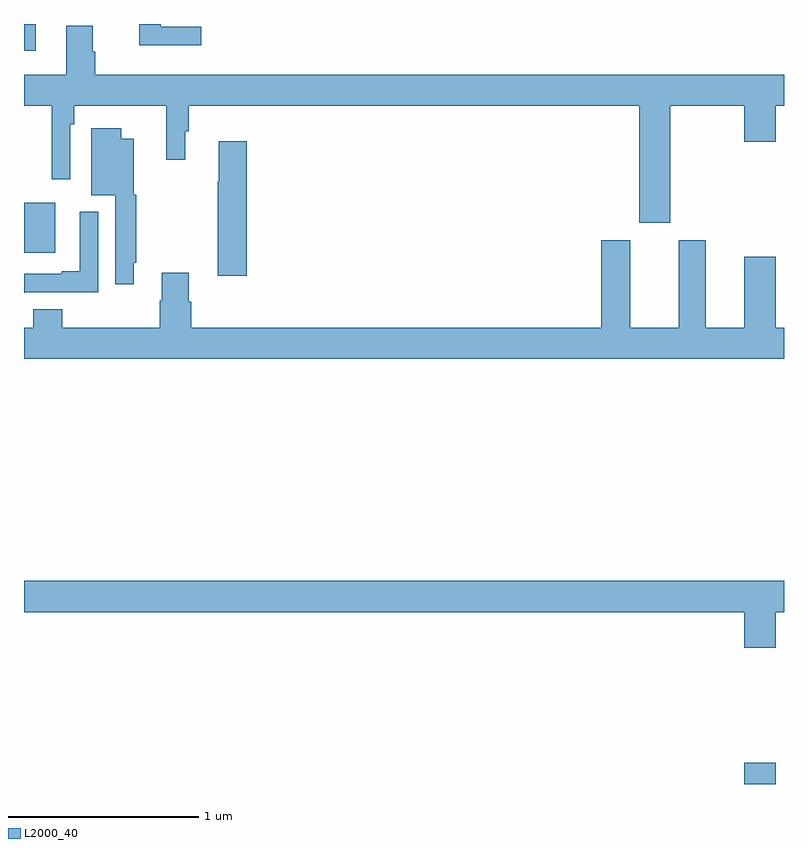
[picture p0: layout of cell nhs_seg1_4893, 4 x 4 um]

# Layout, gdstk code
import gdstk
lib = gdstk.Library(unit=1e-6, precision=1e-09)
def R(c, l, rs):  # rectangles x0, y0, x1, y1
    for r in rs: c.add(gdstk.rectangle(r[:2], r[2:], *l))
def P(c, l, *ps):  # polygons
    for p in ps: c.add(gdstk.Polygon(p, *l))
L2000_40 = (2000, 40)

nhs_seg1_4893 = lib.new_cell('nhs_seg1_4893')
R(nhs_seg1_4893, L2000_40, [(380.792,512.199,380.956,512.311), (377,514.994,377.164,515.257), (377,516.057,377.062,516.199)])
P(nhs_seg1_4893, L2000_40, [(377.932,516.184),(377.719,516.184),(377.719,516.199),(377.607,516.199),(377.607,516.086),(377.932,516.086)],
  [(380.401,515.768),(380.792,515.768),(380.792,515.58),(380.956,515.58),(380.956,515.768),(381,515.768),(381,515.932),(377.375,515.932),(377.375,516.053),(377.362,516.053),(377.362,516.19),(377.222,516.19),(377.222,515.932),(377,515.932),(377,515.768),(377.147,515.768),(377.147,515.382),(377.244,515.382),(377.244,515.672),(377.264,515.672),(377.264,515.768),(377.749,515.768),(377.749,515.484),(377.848,515.484),(377.848,515.634),(377.867,515.634),(377.867,515.768),(380.237,515.768),(380.237,515.154),(380.401,515.154)],
  [(377.578,514.942),(377.59,514.942),(377.59,515.301),(377.578,515.301),(377.578,515.596),(377.512,515.596),(377.512,515.65),(377.354,515.65),(377.354,515.297),(377.481,515.297),(377.481,514.83),(377.578,514.83)],
  [(378.173,515.581),(378.026,515.581),(378.026,515.368),(378.019,515.368),(378.019,514.875),(378.173,514.875)],
  [(377.007,514.788),(377.391,514.788),(377.391,515.212),(377.294,515.212),(377.294,514.897),(377.198,514.897),(377.198,514.884),(377,514.884),(377,514.781)],
  [(381,514.6),(380.956,514.6),(380.956,514.975),(380.792,514.975),(380.792,514.6),(380.587,514.6),(380.587,515.062),(380.447,515.062),(380.447,514.6),(380.191,514.6),(380.191,515.062),(380.039,515.062),(380.039,514.6),(377.879,514.6),(377.879,514.737),(377.866,514.737),(377.866,514.891),(377.726,514.891),(377.726,514.742),(377.714,514.742),(377.714,514.6),(377.201,514.6),(377.201,514.698),(377.049,514.698),(377.049,514.6),(377,514.6),(377,514.436),(381,514.436)],
  [(380.956,513.104),(381,513.104),(381,513.268),(377,513.268),(377,513.104),(380.792,513.104),(380.792,512.916),(380.956,512.916)])

lib.write_gds('nhs_seg1_4893.gds')
